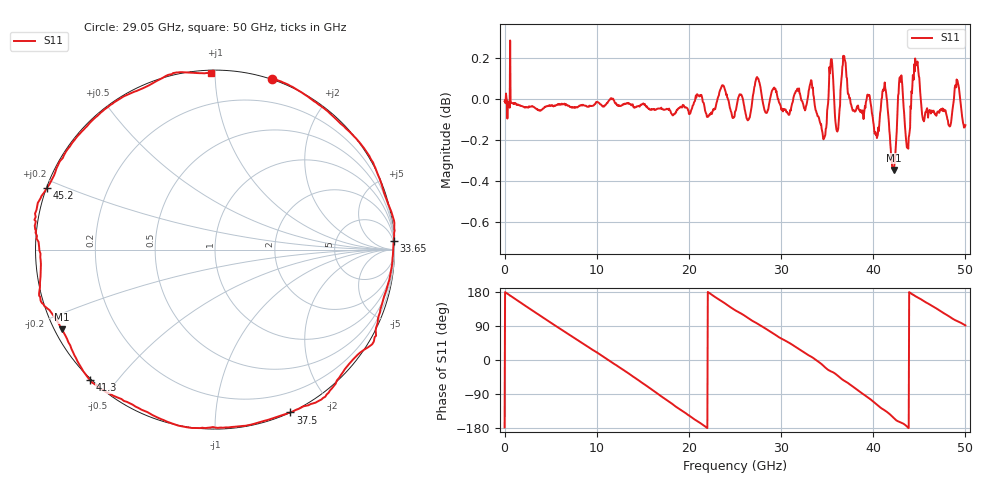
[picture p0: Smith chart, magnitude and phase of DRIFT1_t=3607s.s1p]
!Created with skrf (http://scikit-rf.org).
# Hz S RI R 50.0
!freq ReS11 ImS11
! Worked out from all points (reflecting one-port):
!   1001 points, 300 kHz to 50 GHz, reference 50 ohm
!   lowest |S11| = -0.3 dB at 42.2 GHz (marker M1), VSWR 50.15, Z = 1.06 - j12.2 ohm
!   phase of S11 starts at -178 deg and turns -811 deg over the sweep
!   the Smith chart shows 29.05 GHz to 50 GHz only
!   S11 on the Smith chart (normalised r, x): 29.05 GHz: -0.01, +1.39; 33.65 GHz: 3, +43; 37.5 GHz: 0.00, -1.56; 41.3 GHz: -0.00, -0.43; 45.2 GHz: 0.00, +0.18; 50 GHz: 0.01, +0.98
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300000  -0.998 -0.0335
1.60029e9  -0.8931 0.442
3.40028e9  -0.56 0.822
6.250262e9  0.195 0.9776
7.850253e9  0.5914 0.8006
9.550243e9  0.889 0.4491
1.110023e10  0.9966 0.0446
1.250022e10  0.9363 -0.3395
1.415022e10  0.6769 -0.7295
1.580021e10  0.2575 -0.9599
1.73002e10  -0.183 -0.9768
1.875019e10  -0.5826 -0.8051
2.165017e10  -0.99 -0.1143
2.345016e10  -0.9252 0.394
2.500015e10  -0.6582 0.7432
2.725014e10  -0.1476 0.9993
2.905013e10  0.3186 0.9529
3.125011e10  0.7674 0.638
3.36501e10  0.9954 0.0459
3.555009e10  0.8694 -0.5323
3.750008e10  0.4198 -0.9071
3.945006e10  -0.1569 -0.9898
4.130005e10  -0.6954 -0.7271
4.220005e10  -0.8527 -0.443
4.375004e10  -0.9732 -0.0418
4.520003e10  -0.9367 0.3425
4.770001e10  -0.5406 0.833
5e10  -0.0225 0.985
